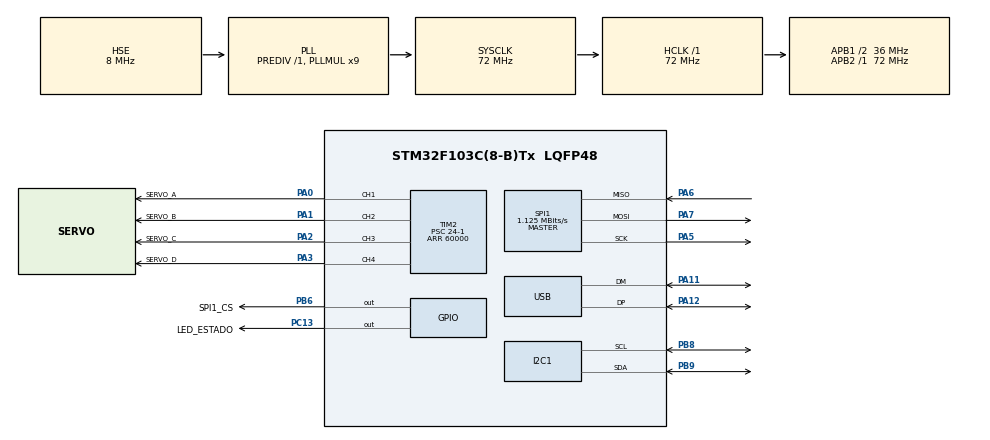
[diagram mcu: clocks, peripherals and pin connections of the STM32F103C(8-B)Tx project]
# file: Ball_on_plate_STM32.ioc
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Mcu.Family=STM32F1
PA6.Mode=Full_Duplex_Master
USB_DEVICE.CLASS_NAME_FS=CDC
SPI1.VirtualType=VM_MASTER
PA11.Mode=Device
PB6.GPIO_Label=SPI1_CS
TIM2.Channel-PWM\ Generation2\ CH2=TIM_CHANNEL_2
RCC.SYSCLKSource=RCC_SYSCLKSOURCE_PLLCLK
ProjectManager.StackSize=0x400
PD1-OSC_OUT.Signal=RCC_OSC_OUT
USB_DEVICE.MANUFACTURER_STRING=UTN FRBA
PA12.Signal=USB_DP
SPI1.CLKPolarity=SPI_POLARITY_HIGH
TIM2.Pulse-PWM\ Generation3\ CH3=3500
SPI1.Direction=SPI_DIRECTION_2LINES
RCC.HCLKFreq_Value=72000000
RCC.APB2TimFreq_Value=72000000
PB6.Signal=GPIO_Output
SPI1.CalculateBaudRate=1.125 MBits/s
RCC.AHBFreq_Value=72000000
RCC.PLLMUL=RCC_PLL_MUL9
PC14-OSC32_IN.Mode=LSE-External-Oscillator
PA14.Mode=Serial_Wire
TIM2.Channel-PWM\ Generation1\ CH1=TIM_CHANNEL_1
Mcu.Package=LQFP48
PB9.Signal=I2C1_SDA
TIM2.Prescaler=24-1
PA6.Signal=SPI1_MISO
PA2.GPIO_Label=SERVO_C
TIM2.Pulse-PWM\ Generation2\ CH2=3500
RCC.APB1TimFreq_Value=72000000
SPI1.BaudRatePrescaler=SPI_BAUDRATEPRESCALER_64
PA3.Signal=S_TIM2_CH4
PA5.Mode=Full_Duplex_Master
RCC.PLLSourceVirtual=RCC_PLLSOURCE_HSE
PC15-OSC32_OUT.Mode=LSE-External-Oscillator
TIM2.Channel-PWM\ Generation4\ CH4=TIM_CHANNEL_4
PA7.Mode=Full_Duplex_Master
PD1-OSC_OUT.Mode=HSE-External-Oscillator
USB_DEVICE.VirtualModeFS=Cdc_FS
PC13-TAMPER-RTC.Signal=GPIO_Output
RCC.USBPrescaler=RCC_USBCLKSOURCE_PLL_DIV1_5
SPI1.CLKPhase=SPI_PHASE_2EDGE
PD0-OSC_IN.Signal=RCC_OSC_IN
RCC.APB1CLKDivider=RCC_HCLK_DIV2
PC14-OSC32_IN.Signal=RCC_OSC32_IN
PA0-WKUP.GPIO_Label=SERVO_A
PA0-WKUP.Signal=S_TIM2_CH1_ETR
TIM2.Pulse-PWM\ Generation1\ CH1=3500
PA13.Signal=SYS_JTMS-SWDIO
SH.S_TIM2_CH2.0=TIM2_CH2,PWM Generation2 CH2
ProjectManager.TargetToolchain=STM32CubeIDE
USB_DEVICE.PRODUCT_STRING_CDC_FS=Ball on plate
I2C1.I2C_Mode=I2C_Fast
VP_USB_DEVICE_VS_USB_DEVICE_CDC_FS.Mode=CDC_FS
PB9.Mode=I2C
RCC.USBFreq_Value=48000000
PC15-OSC32_OUT.Signal=RCC_OSC32_OUT
PA1.Signal=S_TIM2_CH2
PD0-OSC_IN.Mode=HSE-External-Oscillator
PA5.Signal=SPI1_SCK
board=custom
PC13-TAMPER-RTC.GPIO_Label=LED_ESTADO
RCC.APB2Freq_Value=72000000
VP_TIM2_VS_ClockSourceINT.Mode=Internal
SH.S_TIM2_CH3.0=TIM2_CH3,PWM Generation3 CH3
SPI1.Mode=SPI_MODE_MASTER
NVIC.USB_LP_CAN1_RX0_IRQn=true\:0\:0\:false\:false\:true\:false\:true
PA1.GPIO_Label=SERVO_B
TIM2.Channel-PWM\ Generation3\ CH3=TIM_CHANNEL_3
TIM2.Period=60000
PA13.Mode=Serial_Wire
Mcu.Name=STM32F103C(8-B)Tx
PA2.Signal=S_TIM2_CH3
RCC.SYSCLKFreq_VALUE=72000000
PA12.Mode=Device
PA11.Signal=USB_DM
SH.S_TIM2_CH1_ETR.0=TIM2_CH1,PWM Generation1 CH1
PA14.Signal=SYS_JTCK-SWCLK
ProjectManager.HeapSize=0x200
SH.S_TIM2_CH4.0=TIM2_CH4,PWM Generation4 CH4
NVIC.PriorityGroup=NVIC_PRIORITYGROUP_4
PB8.Mode=I2C
PB8.Signal=I2C1_SCL
TIM2.Pulse-PWM\ Generation4\ CH4=3500
RCC.APB1Freq_Value=36000000
USB_DEVICE.VirtualMode=Cdc
PA3.GPIO_Label=SERVO_D
PA7.Signal=SPI1_MOSI

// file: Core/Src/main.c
/* USER CODE BEGIN Header */
/**
  ******************************************************************************
  * @file           : main.c
  * @brief          : Main program body
  ******************************************************************************
  * @attention
  *
  * <h2><center>&copy; Copyright (c) 2021 STMicroelectronics.
  * All rights reserved.</center></h2>
  *
  * This software component is licensed by ST under BSD 3-Clause license,
  * the "License"; You may not use this file except in compliance with the
  * License. You may obtain a copy of the License at:
  *                        opensource.org/licenses/BSD-3-Clause
  *
  ******************************************************************************
  */
/* USER CODE END Header */
#include "main.h"
#include "usb_device.h"

/* USER CODE BEGIN Includes */
#include "servos.h"
#include "cpu.h"
#include "leds.h"
#include "timers.h"
/*Includes externos*/
#include "i2c-lcd.h"
#include "fonts.h"
#include "ssd1306.h"
#include "adxl345.h"
/*includes externos*/
/* USER CODE END Includes */

I2C_HandleTypeDef hi2c1;

SPI_HandleTypeDef hspi1;

TIM_HandleTypeDef htim2;

/* USER CODE BEGIN PV */
extern servo_t servo_A, servo_B, servo_C, servo_D;
/* USER CODE END PV */

void SystemClock_Config(void);
static void MX_GPIO_Init(void);
static void MX_TIM2_Init(void);
static void MX_I2C1_Init(void);
static void MX_SPI1_Init(void);

/* USER CODE BEGIN 0 */
/*Esta funcion es un parche para las placas bluepill chinas, que traen una resistencia de pull up USB de valor erroneo
 * esto hace que luego de un soft reset (Nueva sesion de debug, pulso de reset, etc) el master no reconozca que el dispositivo
 * se reseteo, para solucionarlo le enviamos un pulso de estado bajo al pin de USB D+ para hacer de cuenta que el dispositivo
 * se desconecto, haciendo que el Host deseche y reinicie la comunicacion*/
void USB_DEVICE_MasterHardReset(void)
{
    GPIO_InitTypeDef GpioUSBHack;
    __HAL_RCC_GPIOA_CLK_ENABLE();
    GpioUSBHack.Mode= GPIO_MODE_OUTPUT_PP;
    GpioUSBHack.Pin = GPIO_PIN_12;
    GpioUSBHack.Pull = GPIO_PULLUP;
    GpioUSBHack.Speed = GPIO_SPEED_FREQ_HIGH;
    HAL_GPIO_Init(GPIOA, &GpioUSBHack);
    HAL_GPIO_WritePin(GPIOA, GPIO_PIN_12, GPIO_PIN_RESET);
    HAL_Delay(50);
}
/* USER CODE END 0 */

int main(void)
{

  /* MCU Configuration--------------------------------------------------------*/

  /* Reset of all peripherals, Initializes the Flash interface and the Systick. */
  HAL_Init();

  /* Configure the system clock */
  SystemClock_Config();

  /* USER CODE BEGIN SysInit */
  USB_DEVICE_MasterHardReset();
  /* USER CODE END SysInit */

  /* Initialize all configured peripherals */
  MX_GPIO_Init();
  MX_USB_DEVICE_Init();
  MX_TIM2_Init();
  MX_I2C1_Init();
  MX_SPI1_Init();
  /* USER CODE BEGIN 2 */
  servos_inicializar();
  cpu_inicializar();
  leds_inicializar();

  /*Init nuevo*/
  lcd_init();
  lcd_send_string("SPI_TEST");
  HAL_Delay(2000);

  adxl_init();

  SSD1306_Init();
  /*fin de init nuevo*/
  /* USER CODE END 2 */

  /* Infinite loop */
  while (1)
  {

    /* USER CODE BEGIN 3 */
	  /* Paquete externo  */

	  lectura_acelerometro();

	  acelerometro_a_display();

	  /*Fin Paquete Externo*/
	  cpu_rx();

	  servos_tarea();

	  timer_tarea();
  }
  /* USER CODE END 3 */
}

void SystemClock_Config(void)
{
  RCC_OscInitTypeDef RCC_OscInitStruct = {0};
  RCC_ClkInitTypeDef RCC_ClkInitStruct = {0};
  RCC_PeriphCLKInitTypeDef PeriphClkInit = {0};

  /** Initializes the RCC Oscillators according to the specified parameters
  * in the RCC_OscInitTypeDef structure.
  */
  RCC_OscInitStruct.OscillatorType = RCC_OSCILLATORTYPE_HSE;
  RCC_OscInitStruct.HSEState = RCC_HSE_ON;
  RCC_OscInitStruct.HSEPredivValue = RCC_HSE_PREDIV_DIV1;
  RCC_OscInitStruct.HSIState = RCC_HSI_ON;
  RCC_OscInitStruct.PLL.PLLState = RCC_PLL_ON;
  RCC_OscInitStruct.PLL.PLLSource = RCC_PLLSOURCE_HSE;
  RCC_OscInitStruct.PLL.PLLMUL = RCC_PLL_MUL9;
  if (HAL_RCC_OscConfig(&RCC_OscInitStruct) != HAL_OK)
  {
    Error_Handler();
  }
  /** Initializes the CPU, AHB and APB buses clocks
  */
  RCC_ClkInitStruct.ClockType = RCC_CLOCKTYPE_HCLK|RCC_CLOCKTYPE_SYSCLK
                              |RCC_CLOCKTYPE_PCLK1|RCC_CLOCKTYPE_PCLK2;
  RCC_ClkInitStruct.SYSCLKSource = RCC_SYSCLKSOURCE_PLLCLK;
  RCC_ClkInitStruct.AHBCLKDivider = RCC_SYSCLK_DIV1;
  RCC_ClkInitStruct.APB1CLKDivider = RCC_HCLK_DIV2;
  RCC_ClkInitStruct.APB2CLKDivider = RCC_HCLK_DIV1;

  if (HAL_RCC_ClockConfig(&RCC_ClkInitStruct, FLASH_LATENCY_2) != HAL_OK)
  {
    Error_Handler();
  }
  PeriphClkInit.PeriphClockSelection = RCC_PERIPHCLK_USB;
  PeriphClkInit.UsbClockSelection = RCC_USBCLKSOURCE_PLL_DIV1_5;
  if (HAL_RCCEx_PeriphCLKConfig(&PeriphClkInit) != HAL_OK)
  {
    Error_Handler();
  }
}

static void MX_I2C1_Init(void)
{

  hi2c1.Instance = I2C1;
  hi2c1.Init.ClockSpeed = 400000;
  hi2c1.Init.DutyCycle = I2C_DUTYCYCLE_2;
  hi2c1.Init.OwnAddress1 = 0;
  hi2c1.Init.AddressingMode = I2C_ADDRESSINGMODE_7BIT;
  hi2c1.Init.DualAddressMode = I2C_DUALADDRESS_DISABLE;
  hi2c1.Init.OwnAddress2 = 0;
  hi2c1.Init.GeneralCallMode = I2C_GENERALCALL_DISABLE;
  hi2c1.Init.NoStretchMode = I2C_NOSTRETCH_DISABLE;
  if (HAL_I2C_Init(&hi2c1) != HAL_OK)
  {
    Error_Handler();
  }

}

static void MX_SPI1_Init(void)
{

  /* SPI1 parameter configuration*/
  hspi1.Instance = SPI1;
  hspi1.Init.Mode = SPI_MODE_MASTER;
  hspi1.Init.Direction = SPI_DIRECTION_2LINES;
  hspi1.Init.DataSize = SPI_DATASIZE_8BIT;
  hspi1.Init.CLKPolarity = SPI_POLARITY_HIGH;
  hspi1.Init.CLKPhase = SPI_PHASE_2EDGE;
  hspi1.Init.NSS = SPI_NSS_SOFT;
  hspi1.Init.BaudRatePrescaler = SPI_BAUDRATEPRESCALER_64;
  hspi1.Init.FirstBit = SPI_FIRSTBIT_MSB;
  hspi1.Init.TIMode = SPI_TIMODE_DISABLE;
  hspi1.Init.CRCCalculation = SPI_CRCCALCULATION_DISABLE;
  hspi1.Init.CRCPolynomial = 10;
  if (HAL_SPI_Init(&hspi1) != HAL_OK)
  {
    Error_Handler();
  }

}

static void MX_TIM2_Init(void)
{

  TIM_ClockConfigTypeDef sClockSourceConfig = {0};
  TIM_MasterConfigTypeDef sMasterConfig = {0};
  TIM_OC_InitTypeDef sConfigOC = {0};

  htim2.Instance = TIM2;
  htim2.Init.Prescaler = 24-1;
  htim2.Init.CounterMode = TIM_COUNTERMODE_UP;
  htim2.Init.Period = 60000;
  htim2.Init.ClockDivision = TIM_CLOCKDIVISION_DIV1;
  htim2.Init.AutoReloadPreload = TIM_AUTORELOAD_PRELOAD_DISABLE;
  if (HAL_TIM_Base_Init(&htim2) != HAL_OK)
  {
    Error_Handler();
  }
  sClockSourceConfig.ClockSource = TIM_CLOCKSOURCE_INTERNAL;
  if (HAL_TIM_ConfigClockSource(&htim2, &sClockSourceConfig) != HAL_OK)
  {
    Error_Handler();
  }
  if (HAL_TIM_PWM_Init(&htim2) != HAL_OK)
  {
    Error_Handler();
  }
  sMasterConfig.MasterOutputTrigger = TIM_TRGO_RESET;
  sMasterConfig.MasterSlaveMode = TIM_MASTERSLAVEMODE_DISABLE;
  if (HAL_TIMEx_MasterConfigSynchronization(&htim2, &sMasterConfig) != HAL_OK)
  {
    Error_Handler();
  }
  sConfigOC.OCMode = TIM_OCMODE_PWM1;
  sConfigOC.Pulse = 3500;
  sConfigOC.OCPolarity = TIM_OCPOLARITY_HIGH;
  sConfigOC.OCFastMode = TIM_OCFAST_DISABLE;
  if (HAL_TIM_PWM_ConfigChannel(&htim2, &sConfigOC, TIM_CHANNEL_1) != HAL_OK)
  {
    Error_Handler();
  }
  if (HAL_TIM_PWM_ConfigChannel(&htim2, &sConfigOC, TIM_CHANNEL_2) != HAL_OK)
  {
    Error_Handler();
  }
  if (HAL_TIM_PWM_ConfigChannel(&htim2, &sConfigOC, TIM_CHANNEL_3) != HAL_OK)
  {
    Error_Handler();
  }
  if (HAL_TIM_PWM_ConfigChannel(&htim2, &sConfigOC, TIM_CHANNEL_4) != HAL_OK)
  {
    Error_Handler();
  }
  HAL_TIM_MspPostInit(&htim2);

}

static void MX_GPIO_Init(void)
{
  GPIO_InitTypeDef GPIO_InitStruct = {0};

  /* GPIO Ports Clock Enable */
  __HAL_RCC_GPIOC_CLK_ENABLE();
  __HAL_RCC_GPIOD_CLK_ENABLE();
  __HAL_RCC_GPIOA_CLK_ENABLE();
  __HAL_RCC_GPIOB_CLK_ENABLE();

  /*Configure GPIO pin Output Level */
  HAL_GPIO_WritePin(LED_ESTADO_GPIO_Port, LED_ESTADO_Pin, GPIO_PIN_RESET);

  /*Configure GPIO pin Output Level */
  HAL_GPIO_WritePin(SPI1_CS_GPIO_Port, SPI1_CS_Pin, GPIO_PIN_RESET);

  /*Configure GPIO pin : LED_ESTADO_Pin */
  GPIO_InitStruct.Pin = LED_ESTADO_Pin;
  GPIO_InitStruct.Mode = GPIO_MODE_OUTPUT_PP;
  GPIO_InitStruct.Pull = GPIO_NOPULL;
  GPIO_InitStruct.Speed = GPIO_SPEED_FREQ_LOW;
  HAL_GPIO_Init(LED_ESTADO_GPIO_Port, &GPIO_InitStruct);

  /*Configure GPIO pin : SPI1_CS_Pin */
  GPIO_InitStruct.Pin = SPI1_CS_Pin;
  GPIO_InitStruct.Mode = GPIO_MODE_OUTPUT_PP;
  GPIO_InitStruct.Pull = GPIO_NOPULL;
  GPIO_InitStruct.Speed = GPIO_SPEED_FREQ_LOW;
  HAL_GPIO_Init(SPI1_CS_GPIO_Port, &GPIO_InitStruct);

}

void Error_Handler(void)
{
  __disable_irq();
  while (1)
  {
  }
}

/************************ (C) COPYRIGHT STMicroelectronics *****END OF FILE****/
